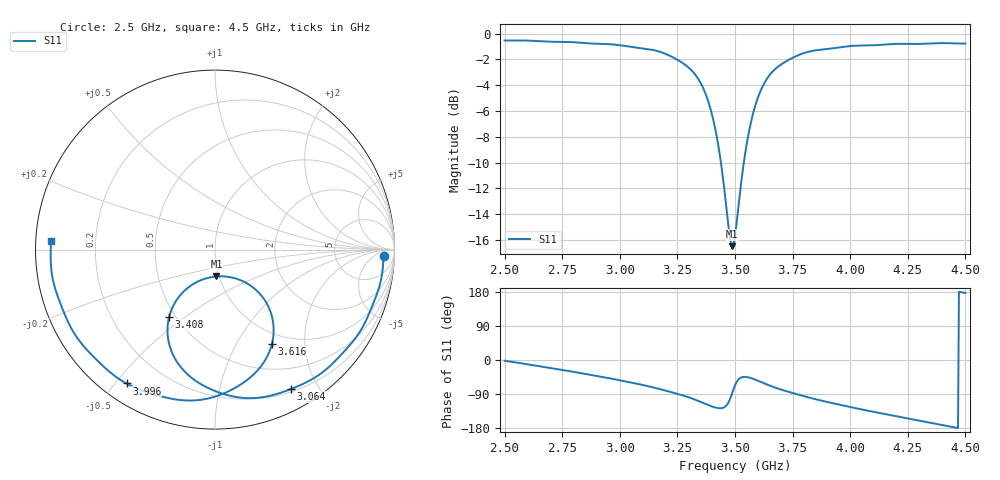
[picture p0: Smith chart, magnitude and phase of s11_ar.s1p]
! S11 simulado (openEMS) da antena patch_3g50: antena no ar
! referencia: borda da placa (entrada do SMA)
# Hz S RI R 50
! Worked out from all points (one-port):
!   501 points, 2.5 GHz to 4.5 GHz, reference 50 ohm
!   lowest |S11| = -16.5 dB at 3.488 GHz (marker M1), VSWR 1.35, Z = 48.6 - j14.9 ohm
!   |S11| at or under -10 dB: 3.439 GHz to 3.538 GHz (99.34 MHz wide, 2.85 % of centre)
!   S11 on the Smith chart (normalised r, x): 2.5 GHz: 25, -14; 3.064 GHz: 0.23, -1.66; 3.408 GHz: 0.46, -0.44; 3.616 GHz: 0.84, -1.42; 3.996 GHz: 0.07, -0.54; 4.5 GHz: 0.04, +0.03
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2.5e9  0.9399 -0.0329
2.604e9  0.9192 -0.1928
2.752e9  0.8336 -0.4111
2.904e9  0.6756 -0.6145
3e9  0.5356 -0.7252
3.064e9  0.4243 -0.7764
3.168e9  0.2086 -0.8277
3.252e9  0.00496 -0.7899
3.332e9  -0.1875 -0.6587
3.372e9  -0.2553 -0.5262
3.408e9  -0.2555 -0.3751
3.452e9  -0.1477 -0.21
3.476e9  -0.0475 -0.1597
3.488e9  0.00812 -0.1497
3.5e9  0.0646 -0.1507
3.528e9  0.1873 -0.1937
3.556e9  0.2779 -0.2828
3.584e9  0.3223 -0.3963
3.616e9  0.3172 -0.5257
3.676e9  0.2106 -0.6996
3.752e9  0.0357 -0.8066
3.848e9  -0.1978 -0.8377
3.996e9  -0.4929 -0.746
4e9  -0.5002 -0.7419
4.124e9  -0.6859 -0.5879
4.252e9  -0.8254 -0.3885
4.388e9  -0.9059 -0.1544
4.5e9  -0.9139 0.049
